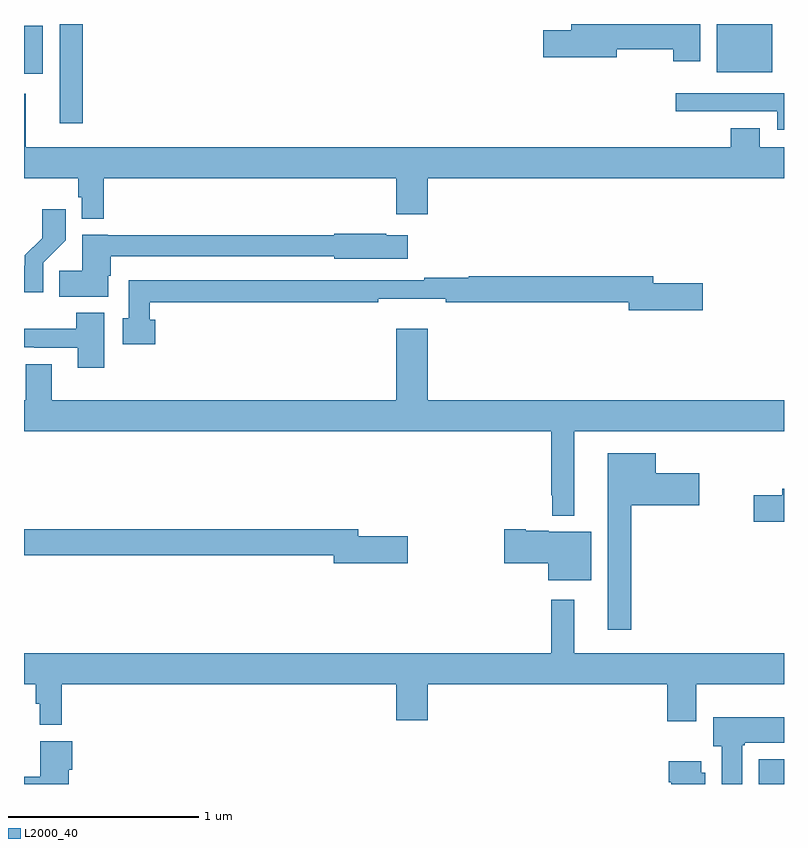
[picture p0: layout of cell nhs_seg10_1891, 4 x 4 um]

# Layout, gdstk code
import gdstk
lib = gdstk.Library(unit=1e-6, precision=1e-09)
def R(c, l, rs):  # rectangles x0, y0, x1, y1
    for r in rs: c.add(gdstk.rectangle(r[:2], r[2:], *l))
def P(c, l, *ps):  # polygons
    for p in ps: c.add(gdstk.Polygon(p, *l))
L2000_40 = (2000, 40)

nhs_seg10_1891 = lib.new_cell('nhs_seg10_1891')
R(nhs_seg10_1891, L2000_40, [(214.868,1258.5,215,1258.63), (211.187,1261.977,211.309,1262.5), (211,1262.237,211.099,1262.491), (214.646,1262.246,214.939,1262.5)])
P(nhs_seg10_1891, L2000_40, [(214.558,1262.5),(213.881,1262.5),(213.881,1262.468),(213.732,1262.468),(213.732,1262.326),(214.12,1262.326),(214.12,1262.368),(214.417,1262.368),(214.417,1262.304),(214.558,1262.304)],
  [(215,1262.136),(214.431,1262.136),(214.431,1262.04),(214.965,1262.04),(214.965,1261.944),(215,1261.944)],
  [(211.421,1261.688),(212.96,1261.688),(212.96,1261.5),(213.124,1261.5),(213.124,1261.688),(215,1261.688),(215,1261.852),(214.873,1261.852),(214.873,1261.951),(214.721,1261.951),(214.721,1261.852),(211.009,1261.852),(211.009,1262.134),(211,1262.134),(211,1261.688),(211.285,1261.688),(211.285,1261.587),(211.305,1261.587),(211.305,1261.475),(211.421,1261.475)],
  [(211.101,1261.243),(211.22,1261.362),(211.22,1261.525),(211.095,1261.525),(211.095,1261.373),(211.004,1261.283),(211.004,1261.228),(211,1261.228),(211,1261.088),(211.101,1261.088)],
  [(211.444,1261.175),(211.457,1261.175),(211.457,1261.278),(212.634,1261.278),(212.634,1261.265),(213.019,1261.265),(213.019,1261.387),(212.906,1261.387),(212.906,1261.395),(212.634,1261.395),(212.634,1261.387),(211.44,1261.387),(211.44,1261.39),(211.307,1261.39),(211.307,1261.202),(211.186,1261.202),(211.186,1261.064),(211.444,1261.064)],
  [(211.691,1260.943),(211.663,1260.943),(211.663,1261.036),(212.864,1261.036),(212.864,1261.055),(213.22,1261.055),(213.22,1261.036),(214.184,1261.036),(214.184,1260.994),(214.573,1260.994),(214.573,1261.136),(214.312,1261.136),(214.312,1261.172),(213.34,1261.172),(213.34,1261.165),(213.106,1261.165),(213.106,1261.152),(211.551,1261.152),(211.551,1260.951),(211.52,1260.951),(211.52,1260.814),(211.691,1260.814)],
  [(211.423,1260.979),(211.276,1260.979),(211.276,1260.895),(211,1260.895),(211,1260.798),(211.054,1260.798),(211.054,1260.795),(211.283,1260.795),(211.283,1260.69),(211.423,1260.69)],
  [(213.895,1260.356),(215,1260.356),(215,1260.52),(213.124,1260.52),(213.124,1260.895),(212.96,1260.895),(212.96,1260.52),(211.147,1260.52),(211.147,1260.71),(211.008,1260.71),(211.008,1260.52),(211,1260.52),(211,1260.356),(213.774,1260.356),(213.774,1260.019),(213.781,1260.019),(213.781,1259.912),(213.895,1259.912)],
  [(214.195,1259.966),(214.555,1259.966),(214.555,1260.136),(214.324,1260.136),(214.324,1260.241),(214.073,1260.241),(214.073,1259.313),(214.195,1259.313)],
  [(215,1260.055),(214.991,1260.055),(214.991,1260.021),(214.842,1260.021),(214.842,1259.879),(215,1259.879)],
  [(213.985,1259.827),(213.762,1259.827),(213.762,1259.833),(213.64,1259.833),(213.64,1259.84),(213.528,1259.84),(213.528,1259.662),(213.758,1259.662),(213.758,1259.573),(213.985,1259.573)],
  [(213.019,1259.804),(212.758,1259.804),(212.758,1259.84),(211,1259.84),(211,1259.704),(212.63,1259.704),(212.63,1259.662),(213.019,1259.662)],
  [(211.199,1259.024),(212.96,1259.024),(212.96,1258.836),(213.124,1258.836),(213.124,1259.024),(214.385,1259.024),(214.385,1258.83),(214.537,1258.83),(214.537,1259.024),(215,1259.024),(215,1259.188),(213.895,1259.188),(213.895,1259.47),(213.774,1259.47),(213.774,1259.188),(211,1259.188),(211,1259.024),(211.063,1259.024),(211.063,1258.923),(211.083,1258.923),(211.083,1258.811),(211.199,1258.811)],
  [(214.78,1258.705),(214.794,1258.705),(214.794,1258.718),(215,1258.718),(215,1258.852),(214.628,1258.852),(214.628,1258.698),(214.673,1258.698),(214.673,1258.5),(214.78,1258.5)],
  [(211.235,1258.574),(211.255,1258.574),(211.255,1258.726),(211.085,1258.726),(211.085,1258.538),(211,1258.538),(211,1258.5),(211.235,1258.5)],
  [(214.585,1258.56),(214.564,1258.56),(214.564,1258.621),(214.394,1258.621),(214.394,1258.508),(214.406,1258.508),(214.406,1258.5),(214.585,1258.5)])

lib.write_gds('nhs_seg10_1891.gds')
